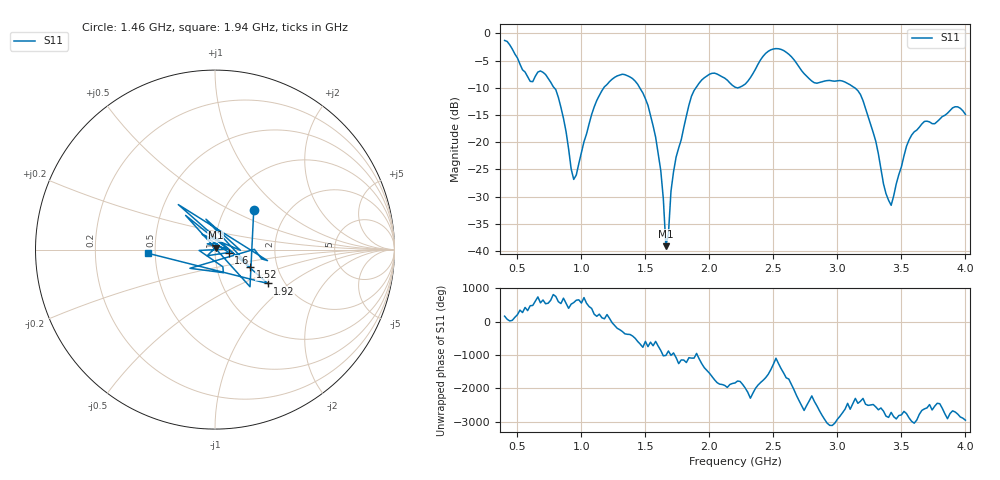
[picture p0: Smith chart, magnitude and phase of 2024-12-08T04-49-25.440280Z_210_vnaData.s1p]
!Created with skrf (http://scikit-rf.org).
# Hz S RI R 50.0
!freq ReS11 ImS11
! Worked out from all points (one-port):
!   181 points, 400 MHz to 4 GHz, reference 50 ohm
!   lowest |S11| = -39.1 dB at 1.66 GHz (marker M1), VSWR 1.02, Z = 50.4 + j1.04 ohm
!   |S11| at or under -10 dB: 787.8 MHz to 1.175 GHz (386.8 MHz wide, 39.4 % of centre); 1.456 GHz to 1.894 GHz (438.4 MHz wide, 26.2 % of centre); 3.136 GHz to end of sweep (the widest 3 of 4)
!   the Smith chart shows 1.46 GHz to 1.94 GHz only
!   S11 on the Smith chart (normalised r, x): 1.46 GHz: 1.36, +0.67; 1.52 GHz: 1.45, -0.30; 1.6 GHz: 1.17, -0.04; 1.92 GHz: 1.64, -0.71; 1.94 GHz: 0.46, -0.02
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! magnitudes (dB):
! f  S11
! 400 MHz  -1.3
! 600 MHz  -8.8
! 720 MHz  -7.5
! 860 MHz  -15.6
! 940 MHz  -26.8
! 1.12 GHz  -12.3
! 1.3 GHz  -7.6
! 1.46 GHz  -10.2
! 1.52 GHz  -13.2
! 1.6 GHz  -22.1
! 1.64 GHz  -30.4
! 1.66 GHz  -39.1
! 1.68 GHz  -36.8
! 1.7 GHz  -29.0
! 1.76 GHz  -21.1
! 1.86 GHz  -11.5
! 1.92 GHz  -9.1
! 1.94 GHz  -8.6
! 2.2 GHz  -9.9
! 2.48 GHz  -3.0
! 2.66 GHz  -4.8
! 2.82 GHz  -9.1
! 3.1 GHz  -9.4
! 3.2 GHz  -12.3
! 3.42 GHz  -31.6
! 3.56 GHz  -19.6
! 3.9 GHz  -13.7
! 4 GHz  -14.9
